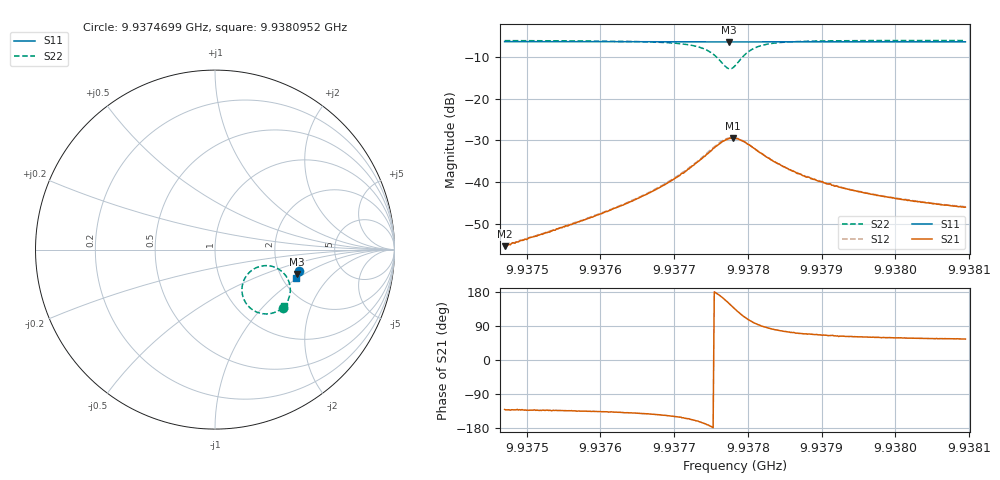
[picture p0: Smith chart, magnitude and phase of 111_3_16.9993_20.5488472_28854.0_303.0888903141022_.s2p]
#  HZ  S  RI  R  50.00
! Rohde & Schwarz Vector Network Analyzer
! Rohde-Schwarz,ZNB20-2Port,1311601062101988,3.16
! Created: UTC 3/20/2024, 10:57:03 PM
! freq[Hz]  re:S11  im:S11  re:S21  im:S21  re:S12  im:S12  re:S22  im:S22
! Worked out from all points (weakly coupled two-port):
!   401 points, 9.9374699 GHz to 9.9380952 GHz, reference 50 ohm
!   highest |S21| = -29.46 dB at 9.9377794 GHz (marker M1); lowest = -55.4 dB at 9.9374699 GHz (marker M2)
!   lowest |S11| = -6.4 dB at 9.9377748 GHz (marker M3), VSWR 2.83, Z = 124 - j43.5 ohm
!   |S11| at or under -10 dB: nowhere
!   |S22| runs from -12.8 to -6.0 dB; largest |S21 - S12| = 0.0016
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9.93746994e9  0.4684 -0.1173  -0.0011 -0.00129  -0.00116 -0.00131  0.3763 -0.3234
9.93749651e9  0.4676 -0.1192  -0.00137 -0.0015  -0.00137 -0.00149  0.3727 -0.3263
9.93757467e9  0.4658 -0.1245  -0.00241 -0.00243  -0.00251 -0.0024  0.3595 -0.3359
9.93763407e9  0.4644 -0.1284  -0.00415 -0.00357  -0.00424 -0.00358  0.3417 -0.3459
9.9376794e9  0.463 -0.1317  -0.00691 -0.00494  -0.00713 -0.00491  0.3147 -0.3551
9.93771379e9  0.4616 -0.1343  -0.0116 -0.00583  -0.0121 -0.00594  0.273 -0.358
9.93773724e9  0.4604 -0.1358  -0.0183 -0.0049  -0.019 -0.00474  0.2193 -0.3416
9.93774974e9  0.4594 -0.1364  -0.0234 -0.00206  -0.0244 -0.00127  0.1809 -0.3093
9.93776068e9  0.4584 -0.1363  -0.028 0.00391  -0.0286 0.00523  0.1533 -0.2527
9.93777006e9  0.4579 -0.1361  -0.0295 0.0126  -0.0298 0.0139  0.1567 -0.1829
9.93777475e9  0.4577 -0.1359  -0.0283 0.0173  -0.0282 0.0188  0.1741 -0.1473
9.93777944e9  0.4579 -0.1355  -0.0258 0.0216  -0.0253 0.023  0.2019 -0.1179
9.93778257e9  0.458 -0.1354  -0.0234 0.024  -0.0228 0.0253  0.2245 -0.1035
9.93779038e9  0.4586 -0.1355  -0.0164 0.0272  -0.0154 0.0282  0.285 -0.0893
9.93779976e9  0.4593 -0.1359  -0.00855 0.027  -0.00768 0.0277  0.3451 -0.1036
9.93781696e9  0.4599 -0.1373  -0.000405 0.0223  0.000293 0.0226  0.4006 -0.155
9.93784666e9  0.4599 -0.14  0.0036 0.0151  0.00407 0.015  0.4196 -0.2198
9.93787636e9  0.4594 -0.1423  0.00426 0.011  0.00447 0.0111  0.4167 -0.2532
9.9378873e9  0.4591 -0.1431  0.00411 0.0101  0.00441 0.0101  0.4145 -0.2615
9.93793263e9  0.458 -0.1464  0.00388 0.00735  0.00402 0.00733  0.406 -0.2842
9.93799203e9  0.4565 -0.1505  0.00335 0.0056  0.00352 0.00554  0.397 -0.3004
9.9380952e9  0.4538 -0.1574  0.00284 0.0041  0.00295 0.0041  0.3854 -0.3163
